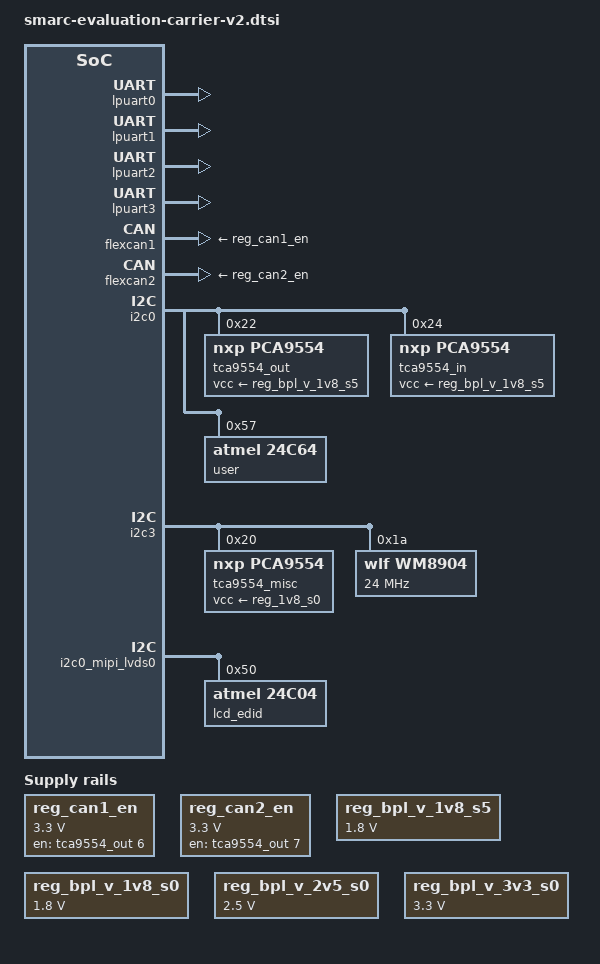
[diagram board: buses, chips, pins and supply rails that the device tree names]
/*
 * The code contained herein is licensed under the GNU General Public
 * License. You may obtain a copy of the GNU General Public License
 * Version 2 or later at the following locations:
 *
 * http://www.opensource.org/licenses/gpl-license.html
 * http://www.gnu.org/copyleft/gpl.html
 */

/ {
	reg_can1_en: regulator-can1-gen {
		compatible = "regulator-fixed";
		regulator-name = "can1-en";
		regulator-min-microvolt = <3300000>;
		regulator-max-microvolt = <3300000>;
		gpio = <&tca9554_out 6 GPIO_ACTIVE_HIGH>;
		enable-active-high;
	};

	reg_can2_en: regulator-can2-gen {
		compatible = "regulator-fixed";
		regulator-name = "can2-en";
		regulator-min-microvolt = <3300000>;
		regulator-max-microvolt = <3300000>;
		gpio = <&tca9554_out 7 GPIO_ACTIVE_HIGH>;
		enable-active-high;
	};

	reg_bpl_v_1v8_s5: regulator-carrier-1v8-s5 {
		compatible = "regulator-fixed";
		regulator-name = "bpl-v-1v8-s5";
		regulator-min-microvolt = <1800000>;
		regulator-max-microvolt = <1800000>;
	};

	reg_bpl_v_1v8_s0: regulator-carrier-1v8-s0 {
		compatible = "regulator-fixed";
		regulator-name = "bpl-v-1v8-s0";
		regulator-min-microvolt = <1800000>;
		regulator-max-microvolt = <1800000>;
	};

	reg_bpl_v_2v5_s0: regulator-carrier-2v5-s0 {
		compatible = "regulator-fixed";
		regulator-name = "bpl-v-2v5-s0";
		regulator-min-microvolt = <2500000>;
		regulator-max-microvolt = <2500000>;
	};

	reg_bpl_v_3v3_s0: regulator-carrier-3v3-s0 {
		compatible = "regulator-fixed";
		regulator-name = "bpl-v-3v3-s0";
		regulator-min-microvolt = <3300000>;
		regulator-max-microvolt = <3300000>;
	};

	sound: sound {
		audio-codec = <&wm8904>;
		codec-master;
	};
};

&lpuart0 {
	status = "okay";
};

&lpuart1 {
	status = "okay";
};

&lpuart2 {
	status = "okay";
};

&lpuart3 {
	status = "okay";
};

&flexcan1 {
	xceiver-supply = <&reg_can1_en>;
	status = "okay";
};

&flexcan2 {
	xceiver-supply = <&reg_can2_en>;
	status = "okay";
};

&i2c0 {
	tca9554_out: gpio@22 {
		compatible = "nxp,pca9554";
		reg = <0x22>;
		gpio-controller;
		#gpio-cells = <2>;
		vcc-supply = <&reg_bpl_v_1v8_s5>;
	};

	tca9554_in: gpio@24 {
		compatible = "nxp,pca9554";
		reg = <0x24>;
		gpio-controller;
		#gpio-cells = <2>;
		vcc-supply = <&reg_bpl_v_1v8_s5>;
	};

	user: eeprom@57 {
		compatible = "atmel,24c64";
		reg = <0x57>;
	};
};

&i2c3 {
	tca9554_misc: gpio@20 {
		compatible = "nxp,pca9554";
		reg = <0x20>;
		gpio-controller;
		#gpio-cells = <2>;
		vcc-supply = <&reg_1v8_s0>;
	};

	wm8904: wm8904@1a {
		compatible = "wlf,wm8904";
		reg = <0x1a>;
		clocks = <&mclkout0_lpcg 0>;
		clock-names = "mclk";
		clock-frequency = <24000000>;
		micdet-cfg = <0x0>;
		micdet-delay = <0x64>;
		power-domains = <&pd IMX_SC_R_MCLK_OUT_0>;
	};
};

&i2c0_mipi_lvds0 {
	lcd_edid: eeprom@50 {
		compatible = "atmel,24c04";
		reg = <0x50>;
	};
};
